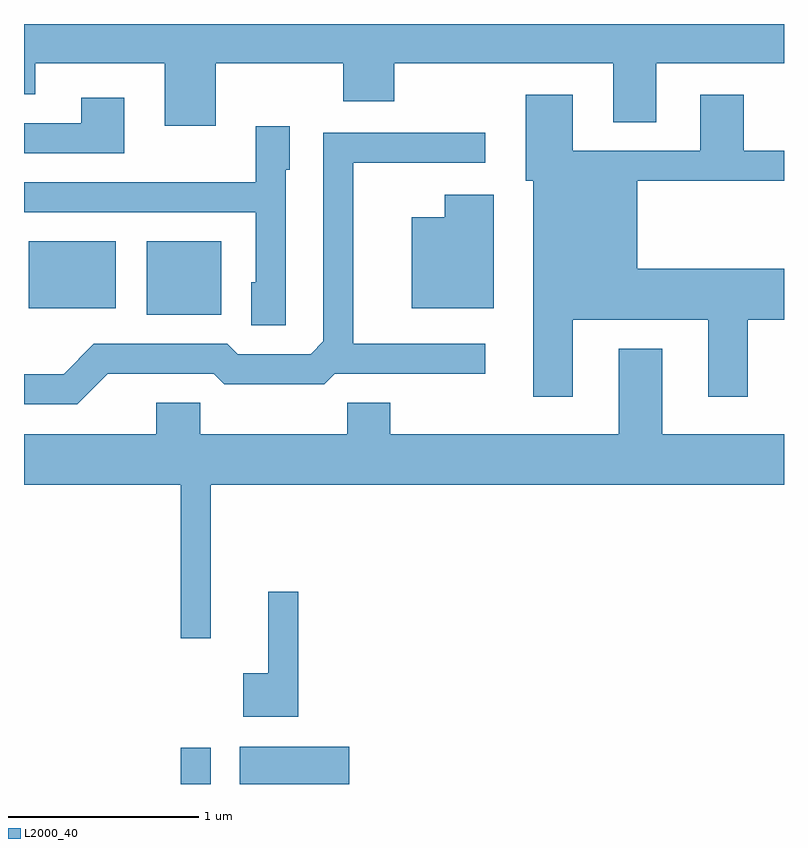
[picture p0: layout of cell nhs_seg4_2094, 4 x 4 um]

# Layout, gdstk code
import gdstk
lib = gdstk.Library(unit=1e-6, precision=1e-09)
def R(c, l, rs):  # rectangles x0, y0, x1, y1
    for r in rs: c.add(gdstk.rectangle(r[:2], r[2:], *l))
def P(c, l, *ps):  # polygons
    for p in ps: c.add(gdstk.Polygon(p, *l))
L2000_40 = (2000, 40)

nhs_seg4_2094 = lib.new_cell('nhs_seg4_2094')
R(nhs_seg4_2094, L2000_40, [(246.436,1361.982,246.594,1362.173), (246.746,1361.982,247.324,1362.179), (246.256,1364.451,246.649,1364.839), (245.636,1364.486,246.094,1364.839)])
P(nhs_seg4_2094, L2000_40, [(246.619,1365.776),(247.291,1365.776),(247.291,1365.576),(247.559,1365.576),(247.559,1365.776),(248.711,1365.776),(248.711,1365.466),(248.939,1365.466),(248.939,1365.776),(249.611,1365.776),(249.611,1365.982),(245.611,1365.982),(245.611,1365.611),(245.669,1365.611),(245.669,1365.776),(246.351,1365.776),(246.351,1365.446),(246.619,1365.446)],
  [(248.499,1364.426),(249.211,1364.426),(249.211,1364.021),(249.419,1364.021),(249.419,1364.426),(249.611,1364.426),(249.611,1364.694),(248.839,1364.694),(248.839,1365.156),(249.611,1365.156),(249.611,1365.314),(249.399,1365.314),(249.399,1365.609),(249.171,1365.609),(249.171,1365.314),(248.499,1365.314),(248.499,1365.609),(248.251,1365.609),(248.251,1365.156),(248.291,1365.156),(248.291,1364.021),(248.499,1364.021)],
  [(246.139,1365.594),(245.911,1365.594),(245.911,1365.459),(245.611,1365.459),(245.611,1365.301),(246.139,1365.301)],
  [(246.989,1365.216),(247.009,1365.216),(247.009,1365.444),(246.831,1365.444),(246.831,1365.149),(245.611,1365.149),(245.611,1364.991),(246.831,1364.991),(246.831,1364.624),(246.806,1364.624),(246.806,1364.396),(246.989,1364.396)],
  [(246.052,1364.141),(246.609,1364.141),(246.664,1364.086),(247.192,1364.086),(247.247,1364.141),(248.038,1364.141),(248.038,1364.299),(247.344,1364.299),(247.344,1365.251),(248.038,1365.251),(248.038,1365.409),(247.186,1365.409),(247.186,1364.312),(247.119,1364.244),(246.737,1364.244),(246.682,1364.299),(245.979,1364.299),(245.819,1364.139),(245.611,1364.139),(245.611,1363.981),(245.892,1363.981)],
  [(248.084,1365.084),(247.826,1365.084),(247.826,1364.964),(247.651,1364.964),(247.651,1364.486),(248.084,1364.486)],
  [(246.594,1363.556),(249.611,1363.556),(249.611,1363.824),(248.969,1363.824),(248.969,1364.274),(248.741,1364.274),(248.741,1363.824),(247.539,1363.824),(247.539,1363.989),(247.311,1363.989),(247.311,1363.824),(246.539,1363.824),(246.539,1363.989),(246.306,1363.989),(246.306,1363.824),(245.611,1363.824),(245.611,1363.556),(246.436,1363.556),(246.436,1362.748),(246.594,1362.748)],
  [(247.054,1362.993),(246.896,1362.993),(246.896,1362.564),(246.766,1362.564),(246.766,1362.336),(247.054,1362.336)])

lib.write_gds('nhs_seg4_2094.gds')
